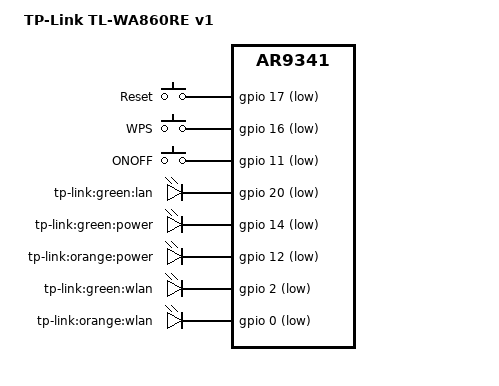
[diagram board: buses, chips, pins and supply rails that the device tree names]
// SPDX-License-Identifier: GPL-2.0-or-later OR MIT
/dts-v1/;

#include "ar9341_tplink_tl-wa.dtsi"

/ {
	model = "TP-Link TL-WA860RE v1";
	compatible = "tplink,tl-wa860re-v1", "qca,ar9341";

	aliases {
		led-boot = &led_power_green;
		led-failsafe = &led_power_orange;
		led-running = &led_power_green;
		led-upgrade = &led_power_orange;
	};

	keys {
		compatible = "gpio-keys";

		reset {
			label = "Reset";
			linux,code = <KEY_RESTART>;
			gpios = <&gpio 17 GPIO_ACTIVE_LOW>;
			debounce-interval = <60>;
		};

		wps {
			label = "WPS";
			linux,code = <KEY_WPS_BUTTON>;
			gpios = <&gpio 16 GPIO_ACTIVE_LOW>;
			debounce-interval = <60>;
		};

		onoff {
			label = "ONOFF";
			linux,code = <BTN_1>;
			gpios = <&gpio 11 GPIO_ACTIVE_LOW>;
			debounce-interval = <60>;
		};
	};

	leds {
		compatible = "gpio-leds";

		lan {
			label = "tp-link:green:lan";
			gpios = <&gpio 20 GPIO_ACTIVE_LOW>;
		};

		led_power_green: power_green {
			label = "tp-link:green:power";
			gpios = <&gpio 14 GPIO_ACTIVE_LOW>;
			default-state = "on";
		};

		led_power_orange: power_orange {
			label = "tp-link:orange:power";
			gpios = <&gpio 12 GPIO_ACTIVE_LOW>;
		};

		wlan_green {
			label = "tp-link:green:wlan";
			gpios = <&gpio 2 GPIO_ACTIVE_LOW>;
			linux,default-trigger = "phy0tpt";
		};

		wlan_orange {
			label = "tp-link:orange:wlan";
			gpios = <&gpio 0 GPIO_ACTIVE_LOW>;
		};
	};
};
